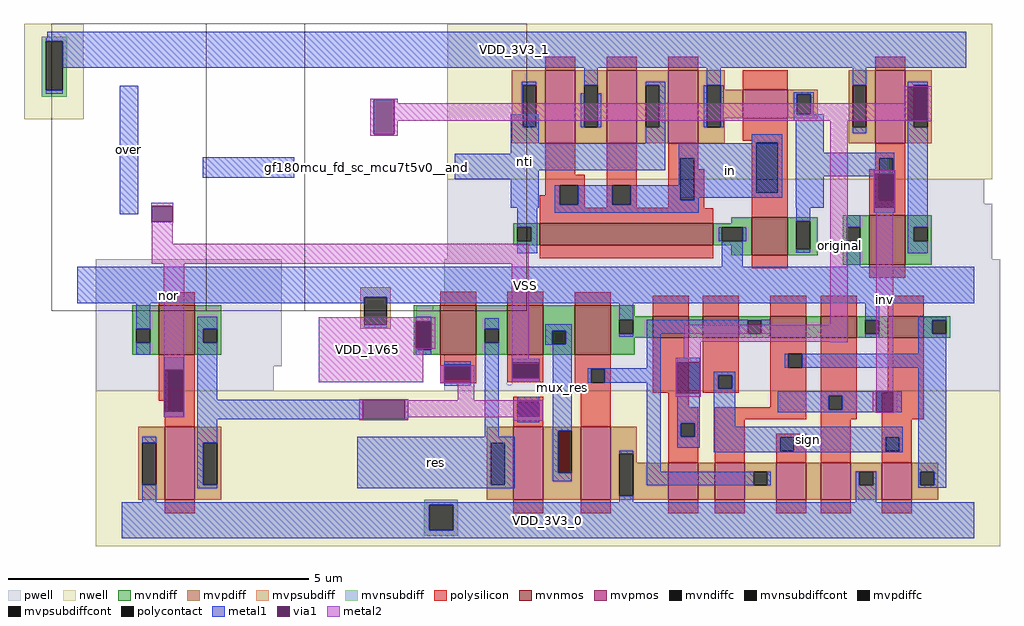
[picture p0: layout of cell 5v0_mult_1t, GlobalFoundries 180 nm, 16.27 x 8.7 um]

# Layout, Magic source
magic
tech gf180mcuD
magscale 1 10
<< nwell >>
rect -2398 -701 -2199 -384
rect -1994 -1724 -1830 -1606
rect -1767 -1629 -251 -1606
rect -236 -1629 126 -1606
rect -1767 -1693 126 -1629
rect 275 -1693 799 -1606
rect -1767 -2124 799 -1693
<< pwell >>
rect -1091 -1340 -1034 -1322
rect -1001 -1340 -770 -1322
rect -1091 -1486 -803 -1340
<< mvnmos >>
rect -1011 -1486 -891 -1322
<< mvndiff >>
rect -1099 -1375 -1011 -1322
rect -1099 -1469 -1086 -1375
rect -1040 -1469 -1011 -1375
rect -1099 -1486 -1011 -1469
rect -891 -1400 -803 -1322
rect -891 -1446 -862 -1400
rect -816 -1446 -803 -1400
rect -891 -1486 -803 -1446
<< mvndiffc >>
rect -1086 -1469 -1040 -1375
rect -862 -1446 -816 -1400
<< mvpsubdiff >>
rect -1277 -1295 -1176 -1262
rect -1277 -1386 -1264 -1295
rect -1189 -1386 -1176 -1295
rect -1277 -1400 -1176 -1386
<< mvnsubdiff >>
rect -2339 -442 -2256 -427
rect -2339 -605 -2326 -442
rect -2269 -605 -2256 -442
rect -2339 -627 -2256 -605
rect -1064 -1986 -952 -1969
rect -1064 -2072 -1048 -1986
rect -968 -2072 -952 -1986
rect -1064 -2089 -952 -2072
<< mvpsubdiffcont >>
rect -1264 -1386 -1189 -1295
<< mvnsubdiffcont >>
rect -2326 -605 -2269 -442
rect -1048 -2072 -968 -1986
<< polysilicon >>
rect -1011 -1322 -891 -1276
rect -1011 -1519 -891 -1486
rect -1011 -1568 -998 -1519
rect -909 -1568 -891 -1519
rect -1011 -1581 -891 -1568
<< polycontact >>
rect -998 -1568 -909 -1519
<< metal1 >>
rect -2320 -431 743 -410
rect -2326 -442 743 -431
rect -2269 -530 743 -442
rect -2326 -616 -2269 -605
rect -2079 -1018 -2018 -590
rect -776 -816 -683 -685
rect -1803 -896 -1497 -828
rect -963 -902 -683 -816
rect -1903 -1044 -1901 -992
rect -776 -997 -683 -902
rect -215 -963 129 -783
rect 180 -884 483 -814
rect 180 -892 437 -884
rect -2220 -1295 769 -1194
rect -2220 -1314 -1264 -1295
rect -1189 -1314 769 -1295
rect -1264 -1397 -1189 -1386
rect -1092 -1375 -1040 -1360
rect -1092 -1469 -1086 -1464
rect -1092 -1487 -1040 -1469
rect -862 -1400 -816 -1365
rect -862 -1486 -816 -1446
rect -998 -1519 -909 -1508
rect -998 -1590 -909 -1578
rect -1796 -1702 -1269 -1636
rect -1129 -1702 -1117 -1636
rect -635 -1739 -572 -1452
rect -1288 -1932 -763 -1760
rect -99 -1811 531 -1726
rect -2073 -1986 769 -1978
rect -2073 -2072 -1048 -1986
rect -968 -2072 769 -1986
rect -2073 -2098 769 -2072
<< via1 >>
rect -1232 -752 -1164 -637
rect 548 -706 614 -594
rect -1972 -1044 -1903 -992
rect 437 -996 502 -884
rect -1092 -1464 -1086 -1375
rect -1086 -1464 -1040 -1375
rect -1931 -1677 -1866 -1537
rect -998 -1568 -909 -1525
rect -998 -1578 -909 -1568
rect -1269 -1702 -1129 -1636
rect -221 -1615 -145 -1512
rect 443 -1678 500 -1608
<< metal2 >>
rect 536 -594 627 -592
rect -1244 -637 -1152 -634
rect -1244 -752 -1232 -637
rect -1164 -649 -1152 -637
rect 536 -649 548 -594
rect -1164 -706 548 -649
rect 614 -706 627 -594
rect -1164 -752 -1152 -706
rect -1244 -756 -1152 -752
rect -1974 -992 -1901 -980
rect -1974 -1044 -1972 -992
rect -1903 -1044 -1901 -992
rect -1974 -1046 -1901 -1044
rect -1972 -1116 -1903 -1046
rect -1972 -1183 -716 -1116
rect -1933 -1537 -1864 -1183
rect -1933 -1677 -1931 -1537
rect -1866 -1677 -1864 -1537
rect -1416 -1375 -1027 -1361
rect -1416 -1464 -1092 -1375
rect -1040 -1464 -1027 -1375
rect -1416 -1466 -1027 -1464
rect -1416 -1578 -1068 -1466
rect -772 -1499 -716 -1183
rect 290 -1386 347 -706
rect 546 -708 627 -706
rect 434 -884 506 -872
rect 434 -996 437 -884
rect 502 -996 506 -884
rect 434 -1014 506 -996
rect -199 -1443 347 -1386
rect -199 -1496 -142 -1443
rect 290 -1444 347 -1443
rect -772 -1512 -683 -1499
rect -225 -1512 -142 -1496
rect -1011 -1525 -897 -1522
rect -1011 -1578 -998 -1525
rect -909 -1578 -897 -1525
rect -1011 -1580 -897 -1578
rect -1933 -1694 -1864 -1677
rect -1281 -1636 -1117 -1634
rect -1281 -1702 -1269 -1636
rect -1129 -1638 -1117 -1636
rect -953 -1638 -897 -1580
rect -225 -1615 -221 -1512
rect -145 -1615 -142 -1512
rect 443 -1606 500 -1014
rect 441 -1608 502 -1606
rect -225 -1627 -142 -1615
rect -1129 -1694 -669 -1638
rect 431 -1678 443 -1608
rect 500 -1678 512 -1608
rect 441 -1680 502 -1678
rect -1129 -1702 -1117 -1694
rect -1281 -1704 -1117 -1702
rect -764 -1706 -763 -1694
use gf180mcu_fd_sc_mcu7t5v0__and2_1  gf180mcu_fd_sc_mcu7t5v0__and2_1_0 $PDKPATH/libs.ref/gf180mcu_fd_sc_mcu7t5v0/mag
transform -1 0 -808 0 1 -1254
box -86 -86 982 870
use gf180mcu_fd_sc_mcu7t5v0__nor2_1  gf180mcu_fd_sc_mcu7t5v0__nor2_1_0 $PDKPATH/libs.ref/gf180mcu_fd_sc_mcu7t5v0/mag
transform 1 0 -2220 0 1 -1254
box -86 -86 758 870
use inverter_pair_short  inverter_pair_short_0
transform -1 0 -63 0 1 -1198
box -556 -142 925 814
use mux_2_mult_custom  mux2_mult_custom_0
transform 1 0 -687 0 -1 -1254
box -86 -86 1542 870
use not_internal_4  not_internal_4_0
transform 1 0 -2073 0 -1 -1254
box -86 -86 534 870
use not_internal_4  not_internal_4_1
transform 1 0 295 0 1 -1254
box -86 -86 534 870
use tg_component_cut  tg_component_0
transform 1 0 -911 0 -1 -1254
box -86 -86 534 760
<< labels >>
rlabel metal2 -1416 -1578 -1092 -1361 1 VDD_1V65
port 9 n signal bidirectional
rlabel metal1 -1288 -1932 -763 -1760 1 res
port 5 n signal bidirectional
rlabel metal2 290 -1444 347 -804 1 original
port 10 n signal bidirectional
rlabel metal1 -776 -997 -683 -685 1 nti
port 12 n
rlabel metal1 -215 -963 129 -783 1 in
port 1 n signal bidirectional
rlabel metal2 -1933 -1537 -1903 -1044 1 nor
port 14 n signal bidirectional
rlabel metal1 -2220 -1314 769 -1194 1 VSS
port 15 n ground bidirectional
rlabel metal1 -2269 -530 743 -410 1 VDD_3V3_1
port 16 n power bidirectional
rlabel metal1 -2073 -2098 769 -1978 1 VDD_3V3_0
port 17 n power bidirectional
rlabel metal1 -2079 -1018 -2018 -590 1 over
port 18 n signal bidirectional
rlabel metal2 443 -1608 500 -996 1 inv
port 11 n signal bidirectional
rlabel metal1 -99 -1811 531 -1726 1 sign
port 7 n signal bidirectional
rlabel metal1 -635 -1739 -572 -1452 1 mux_res
port 13 n signal bidirectional
<< end >>

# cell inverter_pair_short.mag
magic
tech gf180mcuD
magscale 1 10
<< nwell >>
rect -556 296 925 814
<< pwell >>
rect -556 4 925 296
rect -556 -1 -444 4
rect -435 -1 925 4
rect -556 -116 925 -1
rect -253 -142 925 -116
<< mvnmos >>
rect -210 43 -90 170
rect 38 77 616 149
<< mvpmos >>
rect -210 499 -60 595
rect 88 416 188 660
rect 292 416 392 660
rect 497 416 597 660
<< mvndiff >>
rect -310 157 -210 170
rect -310 63 -286 157
rect -239 63 -210 157
rect -310 43 -210 63
rect -90 149 -22 170
rect -90 136 38 149
rect -90 90 -61 136
rect 9 90 38 136
rect -90 77 38 90
rect 616 136 704 149
rect 616 90 645 136
rect 691 90 704 136
rect 616 77 704 90
rect -90 43 -22 77
<< mvpdiff >>
rect 0 609 88 660
rect 0 595 13 609
rect -311 580 -210 595
rect -311 513 -287 580
rect -241 513 -210 580
rect -311 499 -210 513
rect -60 499 13 595
rect 0 469 13 499
rect 59 469 88 609
rect 0 416 88 469
rect 188 609 292 660
rect 188 469 217 609
rect 263 469 292 609
rect 188 416 292 469
rect 392 609 497 660
rect 392 469 422 609
rect 468 469 497 609
rect 392 416 497 469
rect 597 609 709 660
rect 597 469 627 609
rect 673 469 709 609
rect 597 416 709 469
<< mvndiffc >>
rect -286 63 -239 157
rect -61 90 9 136
rect 645 90 691 136
<< mvpdiffc >>
rect -287 513 -241 580
rect 13 469 59 609
rect 217 469 263 609
rect 422 469 468 609
rect 627 469 673 609
<< polysilicon >>
rect 88 660 188 704
rect 292 660 392 704
rect 497 660 597 704
rect -210 595 -60 660
rect -210 425 -60 499
rect -210 418 -90 425
rect -210 251 -177 418
rect -106 251 -90 418
rect 88 367 188 416
rect 88 330 101 367
rect -210 170 -90 251
rect 68 227 101 330
rect 147 227 188 367
rect 68 202 188 227
rect 292 276 392 416
rect 497 311 597 416
rect 292 211 313 276
rect 375 211 392 276
rect 292 202 392 211
rect 466 276 597 311
rect 466 211 487 276
rect 549 243 597 276
rect 549 211 616 243
rect 466 202 616 211
rect 68 199 616 202
rect 38 149 616 199
rect -210 -1 -90 43
rect 38 33 616 77
<< polycontact >>
rect -177 251 -106 418
rect 101 227 147 367
rect 313 211 375 276
rect 487 211 549 276
<< metal1 >>
rect -556 668 840 788
rect 13 609 59 668
rect 198 609 263 622
rect -297 580 -231 587
rect -297 513 -287 580
rect -241 513 -231 580
rect -331 492 -231 513
rect -331 201 -238 492
rect 2 469 13 609
rect 59 469 70 609
rect 198 469 217 609
rect 422 609 468 668
rect 411 469 422 583
rect 627 609 676 622
rect 468 469 479 583
rect 673 469 676 609
rect -192 418 -90 446
rect -192 251 -177 418
rect -106 416 -90 418
rect 198 417 263 469
rect 627 417 676 469
rect -106 367 152 416
rect -106 251 101 367
rect -192 236 101 251
rect 86 227 101 236
rect 147 276 152 367
rect 198 326 676 417
rect 147 227 313 276
rect 86 211 313 227
rect 375 211 487 276
rect 549 211 566 276
rect -286 157 -239 201
rect 86 184 566 211
rect 625 224 676 326
rect 625 136 691 224
rect -72 90 -61 136
rect 9 90 20 136
rect 625 90 645 136
rect -286 52 -239 63
rect -61 4 9 90
rect 625 50 691 90
rect -352 -116 840 4
<< labels >>
rlabel metal1 -106 236 101 416 1 in
port 1 n signal bidirectional
rlabel metal1 -331 201 -238 513 1 nti
port 2 n signal bidirectional
rlabel metal1 198 326 676 417 1 pti
port 3 n signal bidirectional
rlabel metal1 -352 -116 840 4 1 VSS
port 4 n ground bidirectional
rlabel metal1 -556 668 840 788 1 VDD_3V3
port 5 n power bidirectional
<< end >>

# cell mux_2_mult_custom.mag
magic
tech gf180mcuD
magscale 1 10
<< nwell >>
rect -86 352 1542 870
<< pwell >>
rect -86 -86 1542 352
<< mvnmos >>
rect 124 68 244 232
rect 384 104 504 176
rect 552 104 672 176
rect 776 104 896 176
rect 944 104 1064 176
rect 1168 104 1288 176
<< mvpmos >>
rect 144 472 244 716
rect 437 593 537 716
rect 592 593 692 716
rect 796 593 896 716
rect 944 593 1044 716
rect 1148 593 1248 716
<< mvndiff >>
rect 36 198 124 232
rect 36 152 49 198
rect 95 152 124 198
rect 36 68 124 152
rect 244 176 324 232
rect 244 162 384 176
rect 244 116 273 162
rect 319 116 384 162
rect 244 104 384 116
rect 504 104 552 176
rect 672 163 776 176
rect 672 117 701 163
rect 747 117 776 163
rect 672 104 776 117
rect 896 104 944 176
rect 1064 163 1168 176
rect 1064 117 1093 163
rect 1139 117 1168 163
rect 1064 104 1168 117
rect 1288 163 1376 176
rect 1288 117 1317 163
rect 1363 117 1376 163
rect 1288 104 1376 117
rect 244 68 324 104
<< mvpdiff >>
rect 56 625 144 716
rect 56 485 69 625
rect 115 485 144 625
rect 56 472 144 485
rect 244 703 437 716
rect 244 563 273 703
rect 319 593 437 703
rect 537 593 592 716
rect 692 668 796 716
rect 692 622 721 668
rect 767 622 796 668
rect 692 593 796 622
rect 896 593 944 716
rect 1044 668 1148 716
rect 1044 622 1073 668
rect 1119 622 1148 668
rect 1044 593 1148 622
rect 1248 668 1336 716
rect 1248 622 1277 668
rect 1323 622 1336 668
rect 1248 593 1336 622
rect 319 563 332 593
rect 244 472 332 563
<< mvndiffc >>
rect 49 152 95 198
rect 273 116 319 162
rect 701 117 747 163
rect 1093 117 1139 163
rect 1317 117 1363 163
<< mvpdiffc >>
rect 69 485 115 625
rect 273 563 319 703
rect 721 622 767 668
rect 1073 622 1119 668
rect 1277 622 1323 668
<< polysilicon >>
rect 144 716 244 760
rect 437 716 537 760
rect 592 716 692 760
rect 796 716 896 760
rect 944 716 1044 760
rect 1148 716 1248 760
rect 437 506 537 593
rect 144 359 244 472
rect 437 460 478 506
rect 524 460 537 506
rect 437 407 537 460
rect 592 447 692 593
rect 796 554 896 593
rect 796 508 809 554
rect 855 508 896 554
rect 796 495 896 508
rect 944 447 1044 593
rect 1148 554 1248 593
rect 1148 508 1161 554
rect 1207 508 1248 554
rect 1148 447 1248 508
rect 592 407 896 447
rect 437 359 504 407
rect 124 325 244 359
rect 124 279 179 325
rect 225 279 244 325
rect 124 232 244 279
rect 384 176 504 359
rect 552 346 672 359
rect 552 300 603 346
rect 649 300 672 346
rect 552 176 672 300
rect 776 275 896 407
rect 776 229 837 275
rect 883 229 896 275
rect 776 176 896 229
rect 944 415 1064 447
rect 944 369 971 415
rect 1017 369 1064 415
rect 944 176 1064 369
rect 1148 359 1288 447
rect 1168 176 1288 359
rect 124 24 244 68
rect 384 35 504 104
rect 552 35 672 104
rect 776 35 896 104
rect 944 35 1064 104
rect 1168 35 1288 104
<< polycontact >>
rect 478 460 524 506
rect 809 508 855 554
rect 1161 508 1207 554
rect 179 279 225 325
rect 603 300 649 346
rect 837 229 883 275
rect 971 369 1017 415
<< metal1 >>
rect 0 724 1456 844
rect 273 703 319 724
rect 52 625 115 654
rect 52 485 69 625
rect 1062 668 1130 724
rect 273 552 319 563
rect 365 622 721 668
rect 767 622 778 668
rect 1062 622 1073 668
rect 1119 622 1130 668
rect 52 199 115 485
rect 365 325 411 622
rect 1062 621 1130 622
rect 1270 668 1363 676
rect 1270 622 1277 668
rect 1323 622 1363 668
rect 588 554 1218 557
rect 168 279 179 325
rect 225 279 411 325
rect 168 278 411 279
rect 26 198 115 199
rect 26 152 49 198
rect 95 152 115 198
rect 26 130 115 152
rect 273 162 319 173
rect 273 60 319 116
rect 365 163 411 278
rect 466 506 542 542
rect 466 460 478 506
rect 524 460 542 506
rect 466 242 542 460
rect 588 508 809 554
rect 855 508 1161 554
rect 1207 508 1218 554
rect 588 472 1218 508
rect 588 346 659 472
rect 802 415 1214 424
rect 802 369 971 415
rect 1017 369 1214 415
rect 802 354 1214 369
rect 588 300 603 346
rect 649 300 659 346
rect 588 289 659 300
rect 1270 275 1363 622
rect 825 229 837 275
rect 883 229 1363 275
rect 1093 163 1139 176
rect 365 117 701 163
rect 747 117 776 163
rect 365 115 776 117
rect 1093 60 1139 117
rect 1270 163 1363 229
rect 1270 117 1317 163
rect 1270 106 1363 117
rect 0 -60 1456 60
<< labels >>
flabel metal1 s 588 472 1218 557 0 FreeSans 400 0 0 0 S
port 3 nsew default input
flabel metal1 s 0 724 1456 844 0 FreeSans 400 0 0 0 VDD
port 5 nsew power bidirectional abutment
flabel metal1 s 1093 173 1139 176 0 FreeSans 400 0 0 0 VSS
port 8 nsew ground bidirectional abutment
flabel metal1 s 26 130 115 654 0 FreeSans 400 0 0 0 Z
port 4 nsew default output
flabel metal1 s 802 354 1214 424 0 FreeSans 400 0 0 0 I0
port 1 nsew default input
flabel metal1 s 466 242 542 542 0 FreeSans 400 0 0 0 I1
port 2 nsew default input
flabel nwell s 10 734 110 834 0 FreeSans 400 0 0 0 VNW
port 6 nsew power bidirectional
flabel pwell s 10 -50 110 50 0 FreeSans 400 0 0 0 VPW
port 7 nsew ground bidirectional
rlabel metal1 s 588 289 659 472 1 S
port 3 nsew default input
rlabel metal1 s 1062 621 1130 724 1 VDD
port 5 nsew power bidirectional abutment
rlabel metal1 s 273 621 319 724 1 VDD
port 5 nsew power bidirectional abutment
rlabel metal1 s 273 552 319 621 1 VDD
port 5 nsew power bidirectional abutment
rlabel metal1 s 1093 60 1139 173 1 VSS
port 8 nsew ground bidirectional abutment
rlabel metal1 s 273 60 319 173 1 VSS
port 8 nsew ground bidirectional abutment
rlabel metal1 s 0 -60 1456 60 1 VSS
port 8 nsew ground bidirectional abutment
<< properties >>
string FIXED_BBOX 0 0 1456 784
string GDS_END 664396
string GDS_FILE $PDKPATH/libs.ref/gf180mcu_fd_sc_mcu7t5v0/gds/gf180mcu_fd_sc_mcu7t5v0.gds
string GDS_START 660396
string LEFclass core
string LEFsite GF018hv5v_mcu_sc7
string LEFsymmetry X Y
<< end >>

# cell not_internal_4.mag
magic
tech gf180mcuD
magscale 1 10
<< nwell >>
rect -86 352 534 870
<< pwell >>
rect -86 270 507 352
rect -86 -86 534 270
<< mvnmos >>
rect 124 68 244 232
<< mvpmos >>
rect 144 472 244 716
<< mvndiff >>
rect 36 192 124 232
rect 36 146 49 192
rect 95 146 124 192
rect 36 68 124 146
rect 244 192 332 232
rect 244 146 273 192
rect 319 146 332 192
rect 244 68 332 146
<< mvpdiff >>
rect 56 665 144 716
rect 56 525 69 665
rect 115 525 144 665
rect 56 472 144 525
rect 244 665 332 716
rect 244 525 273 665
rect 319 525 332 665
rect 244 472 332 525
<< mvndiffc >>
rect 49 146 95 192
rect 273 146 319 192
<< mvpdiffc >>
rect 69 525 115 665
rect 273 525 319 665
<< polysilicon >>
rect 144 716 244 760
rect 144 423 244 472
rect 144 386 157 423
rect 124 283 157 386
rect 203 283 244 423
rect 124 232 244 283
rect 124 24 244 68
<< polycontact >>
rect 157 283 203 423
<< metal1 >>
rect 0 724 448 844
rect 69 665 115 724
rect 69 506 115 525
rect 253 665 319 678
rect 253 525 273 665
rect 142 423 207 440
rect 142 283 157 423
rect 203 283 207 423
rect 142 240 207 283
rect 49 192 95 232
rect 49 60 95 146
rect 253 192 319 525
rect 253 146 273 192
rect 253 106 319 146
rect 0 -60 448 60
<< properties >>
string FIXED_BBOX 0 0 448 784
string GDS_END 476332
string GDS_FILE $PDKPATH/libs.ref/gf180mcu_fd_sc_mcu7t5v0/gds/gf180mcu_fd_sc_mcu7t5v0.gds
string GDS_START 474136
string LEFclass core
string LEFsite GF018hv5v_mcu_sc7
string LEFsymmetry X Y
<< end >>

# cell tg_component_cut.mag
magic
tech gf180mcuD
magscale 1 10
<< pwell >>
rect -86 333 534 352
rect -86 324 124 333
rect 244 324 534 333
rect -86 -86 534 324
<< mvnmos >>
rect 124 68 244 232
<< mvpmos >>
rect 144 472 244 716
<< mvndiff >>
rect 36 192 124 232
rect 36 146 49 192
rect 95 146 124 192
rect 36 68 124 146
rect 244 68 332 232
<< mvpdiff >>
rect 56 665 144 716
rect 56 525 69 665
rect 115 525 144 665
rect 56 472 144 525
rect 244 472 332 716
<< mvndiffc >>
rect 49 146 95 192
<< mvpdiffc >>
rect 69 525 115 665
<< polysilicon >>
rect 144 716 244 760
rect 144 439 244 472
rect 144 393 157 439
rect 230 393 244 439
rect 144 373 244 393
rect 124 311 244 324
rect 124 265 141 311
rect 230 265 244 311
rect 124 232 244 265
rect 124 23 244 68
<< polycontact >>
rect 157 393 230 439
rect 141 265 230 311
<< metal1 >>
rect 49 665 115 678
rect 49 525 69 665
rect 49 506 115 525
rect 49 192 95 506
rect 157 439 230 458
rect 157 373 230 387
rect 141 311 230 323
rect 141 245 230 257
rect 49 111 95 146
<< via1 >>
rect 157 393 230 439
rect 157 387 230 393
rect 141 265 230 311
rect 141 257 230 265
<< metal2 >>
rect 145 439 242 452
rect 145 387 157 439
rect 230 387 242 439
rect 145 385 242 387
rect 139 311 232 323
rect 139 257 141 311
rect 230 257 232 311
rect 139 245 232 257
<< labels >>
rlabel metal1 49 317 95 323 1 In
port 7 n signal bidirectional
<< properties >>
string FIXED_BBOX 0 0 448 784
string GDS_END 476332
string GDS_FILE $PDKPATH/libs.ref/gf180mcu_fd_sc_mcu7t5v0/gds/gf180mcu_fd_sc_mcu7t5v0.gds
string GDS_START 474136
string LEFclass core
string LEFsite GF018hv5v_mcu_sc7
string LEFsymmetry X Y
<< end >>
